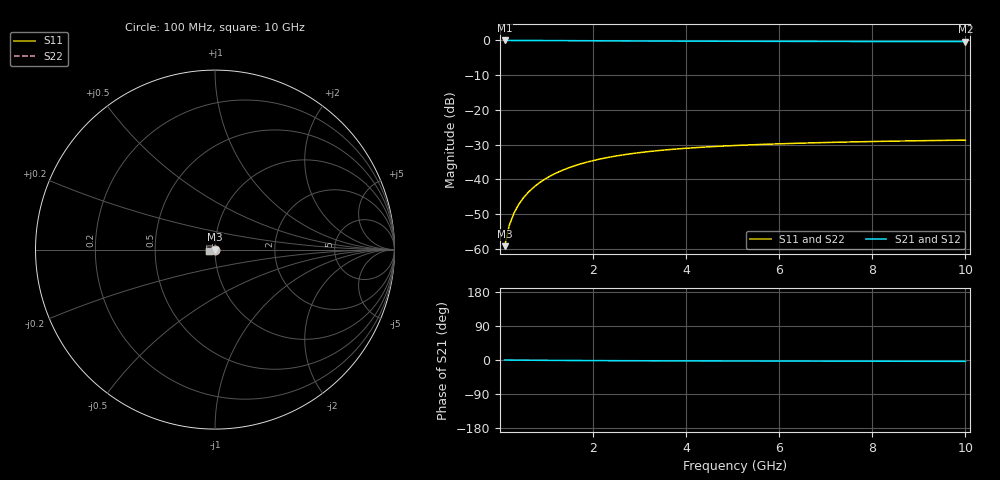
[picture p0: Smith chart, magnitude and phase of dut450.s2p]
! Touchstone file exported from HFSS 2024.1.0
!  File:  C:/UserFiles/LocalFiles/RDL_TSV_Batchsim/temp_TSV1_450_1779696326.aedt
!  Generated:  04:11:57 PM May 25, 2026
!  Design:  TSV1
!  Project:  temp_TSV1_450_1779696326
!  Setup:  Setup1
!  Solution:  Sweep
! Variables:
!  dtsv = 13.73um
!  hbump = 3um
!  htsv = 51.79um
!  lrdl = 252.1521522um
!  p = 40
!  p1 = 52.9um
!  t = 500um
!  trdl = 3um
!  wrdl = 24.89489489um
# GHz S MA R 50.000000
! Terminal data exported
! Port[1] = TSV22_T1
! Port[2] = TSV22_T2
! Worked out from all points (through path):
!   100 points, 100 MHz to 10 GHz, reference 50 ohm
!   highest |S21| = 0.00 dB at 100 MHz (marker M1); lowest = -0.3 dB at 10 GHz (marker M2)
!   lowest |S11| = -59.3 dB at 100 MHz (marker M3), VSWR 1.00, Z = 50 - j0.108 ohm
!   |S11| at or under -10 dB: start of sweep to end of sweep
!   |S22| runs from -59.3 to -28.7 dB; largest |S21 - S12| = 1.7e-14
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0.1  0.001082 -88.3  0.9999 -0.1  0.9999 -0.1  0.001082 -88.3
! Gamma 0 0 0 0
! Port Impedance 50 0 50 0
0.2  0.002159 -91.9  0.9998 -0.2  0.9998 -0.2  0.002159 -91.9
0.3  0.00323 -94.3  0.9996 -0.3  0.9996 -0.3  0.00323 -94.3
0.4  0.004292 -96.4  0.9993 -0.4  0.9993 -0.4  0.004292 -96.4
0.5  0.005343 -98.4  0.999 -0.5  0.999 -0.5  0.005343 -98.4
0.6  0.006381 -100.3  0.9986 -0.6  0.9986 -0.6  0.006381 -100.3
0.7  0.007402 -102.1  0.9982 -0.7  0.9982 -0.7  0.007402 -102.1
0.8  0.008404 -103.9  0.9977 -0.7  0.9977 -0.7  0.008404 -103.9
0.9  0.009386 -105.7  0.9972 -0.8  0.9972 -0.8  0.009386 -105.7
1.1  0.01128 -109.1  0.996 -1.0  0.996 -1.0  0.01128 -109.1
1.4  0.01394 -114.0  0.994 -1.2  0.994 -1.2  0.01394 -114.0
1.6  0.01557 -117.1  0.9926 -1.3  0.9926 -1.3  0.01557 -117.1
1.8  0.0171 -120.0  0.9911 -1.4  0.9911 -1.4  0.0171 -120.0
2.1  0.01919 -124.1  0.989 -1.6  0.989 -1.6  0.01919 -124.1
2.5  0.02162 -129.0  0.9862 -1.8  0.9862 -1.8  0.02162 -129.0
2.9  0.02368 -133.4  0.9836 -1.9  0.9836 -1.9  0.02368 -133.4
3.4  0.02583 -138.3  0.9806 -2.1  0.9806 -2.1  0.02583 -138.3
4.2  0.02849 -144.8  0.9765 -2.3  0.9765 -2.3  0.02849 -144.8
5.1  0.03069 -150.7  0.9729 -2.5  0.9729 -2.5  0.03069 -150.7
6.7  0.03338 -158.9  0.9683 -2.9  0.9683 -2.9  0.03338 -158.9
8.4  0.0353 -165.7  0.9651 -3.2  0.9651 -3.2  0.0353 -165.7
10  0.03657 -171.2  0.963 -3.6  0.963 -3.6  0.03657 -171.2
